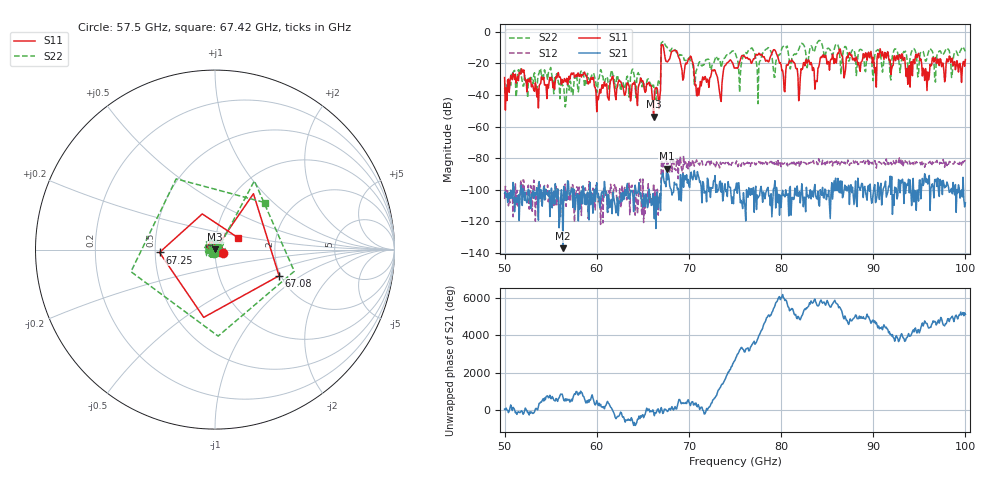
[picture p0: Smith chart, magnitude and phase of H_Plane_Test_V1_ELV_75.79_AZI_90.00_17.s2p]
! 11/27/2026 8:12:30 AM
! C:\ANRITSUVNA\TEMP\TEMP.S2P
! CHANNEL.1
! TR.MEASUREMENT
! RAW.DATA
# HZ S RI R 50.0
! FREQ.HZ  S11RE  S11IM  S21RE  S21IM  S12RE  S12IM  S22RE  S22IM
!; PortSelection: Port_12
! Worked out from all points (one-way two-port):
!   601 points, 50 GHz to 100 GHz, reference 50 ohm
!   highest |S21| = -86.58 dB at 67.58 GHz (marker M1); lowest = -137.0 dB at 56.33 GHz (marker M2)
!   lowest |S11| = -53.8 dB at 66.17 GHz (marker M3), VSWR 1.00, Z = 50.1 + j0.156 ohm
!   |S11| at or under -10 dB: start of sweep to 67 GHz; 67.24 GHz to end of sweep
!   |S22| runs from -47.7 to -5.6 dB; largest |S21 - S12| = 0.00017
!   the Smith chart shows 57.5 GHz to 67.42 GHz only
!   S11 on the Smith chart (normalised r, x): 57.5 GHz: 1.09, -0.04; 67.08 GHz: 1.96, -0.67; 67.25 GHz: 0.53, -0.02; 67.42 GHz: 1.29, +0.17
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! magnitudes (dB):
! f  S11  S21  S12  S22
! 50 GHz  -29.1  -102.2  -105.8  -35.7
! 51.67 GHz  -26.2  -102.9  -105.6  -23.1
! 56.33 GHz  -32.2  -137.0  -110.1  -34.0
! 57.5 GHz  -26.1  -99.5  -109.0  -34.4
! 58.42 GHz  -27.1  -108.9  -97.9  -24.7
! 60.17 GHz  -43.0  -102.2  -107.7  -30.2
! 66.17 GHz  -53.8  -109.1  -96.1  -33.9
! 66.67 GHz  -41.7  -109.3  -116.0  -31.6
! 67.08 GHz  -8.3  -90.9  -76.2  -6.8
! 67.25 GHz  -10.2  -92.3  -83.9  -6.3
! 67.42 GHz  -16.7  -95.2  -79.9  -8.3
! 67.58 GHz  -18.9  -86.6  -83.9  -9.6
! 70.17 GHz  -15.5  -90.8  -82.8  -18.5
! 70.92 GHz  -40.6  -88.5  -83.7  -23.0
! 75 GHz  -23.1  -100.3  -82.7  -13.0
! 79.25 GHz  -11.4  -98.7  -82.7  -28.9
! 80.25 GHz  -28.0  -103.5  -83.6  -9.3
! 83.42 GHz  -24.6  -102.3  -83.3  -10.9
! 91.67 GHz  -16.8  -97.8  -84.0  -15.3
! 94.83 GHz  -14.8  -100.2  -83.4  -28.6
! 95.83 GHz  -37.2  -93.1  -82.6  -16.4
! 100 GHz  -17.7  -108.2  -81.9  -12.6
